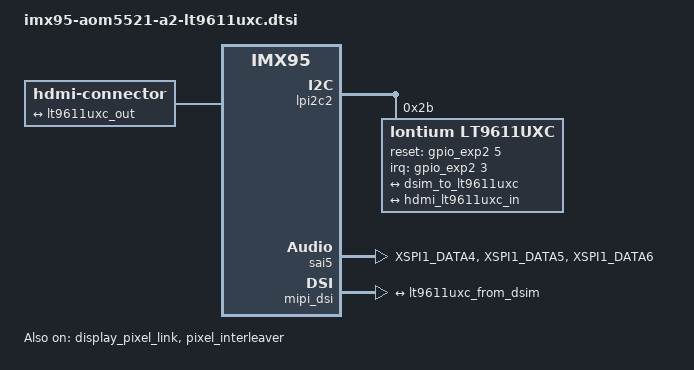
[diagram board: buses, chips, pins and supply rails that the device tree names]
/ {
	sound_hdmi: sound-hdmi {
		compatible = "simple-audio-card";
		simple-audio-card,name = "sound-hdmi";
		simple-audio-card,format = "i2s";

		simple-audio-card,cpu {
			sound-dai = <&sai5>;
		};

		simple-audio-card,codec {
			sound-dai = <&lt9611uxc>;
		};
	};

	hdmi-connector-dsi {
		compatible = "hdmi-connector";
		label = "hdmi";
		type = "a";

		port {
			hdmi_lt9611uxc_in: endpoint {
				remote-endpoint = <&lt9611uxc_out>;
			};
		};
	};
};

&lpi2c2 {
	lt9611uxc: lt9611uxc@2b {
		compatible = "lontium,lt9611uxc";
		reg = <0x2b>;
		#sound-dai-cells = <0>;
		reset-gpios = <&gpio_exp2 5 GPIO_ACTIVE_HIGH>; /* DSI_RST */
		interrupts-extended = <&gpio_exp2 3 IRQ_TYPE_EDGE_FALLING>; /* DSI_HDMI_INT */

		ports {
			#address-cells = <1>;
			#size-cells = <0>;

			port@0 {
				reg = <0>;
				lt9611uxc_from_dsim: endpoint {
					remote-endpoint = <&dsim_to_lt9611uxc>;
				};
			};

			port@2 {
				reg = <2>;
				lt9611uxc_out: endpoint {
					remote-endpoint = <&hdmi_lt9611uxc_in>;
				};
			};
		};
	};
};

&sai5 {
	#sound-dai-cells = <0>;
	pinctrl-names = "default";
	pinctrl-0 = <&pinctrl_sai5>;
	assigned-clocks = <&scmi_clk IMX95_CLK_AUDIOPLL1_VCO>,
			  <&scmi_clk IMX95_CLK_AUDIOPLL2_VCO>,
			  <&scmi_clk IMX95_CLK_AUDIOPLL1>,
			  <&scmi_clk IMX95_CLK_AUDIOPLL2>,
			  <&scmi_clk IMX95_CLK_SAI5>;
	assigned-clock-parents = <0>, <0>, <0>, <0>,
				 <&scmi_clk IMX95_CLK_AUDIOPLL1>;
	assigned-clock-rates = <3932160000>,
			       <3612672000>, <393216000>,
			       <361267200>, <12288000>;
	fsl,sai-mclk-direction-output;
	status = "okay";
};

&display_pixel_link {
	status = "okay";
};

&dpu {
	assigned-clocks = <&scmi_clk IMX95_CLK_DISP1PIX>,
			  <&scmi_clk IMX95_CLK_VIDEOPLL1_VCO>,
			  <&scmi_clk IMX95_CLK_VIDEOPLL1>;
	assigned-clock-parents = <&scmi_clk IMX95_CLK_VIDEOPLL1>;
	assigned-clock-rates = <0>, <2673000000>, <297000000>;
};

&mipi_dsi {
	status = "okay";

	ports {
		#address-cells = <1>;
		#size-cells = <0>;

		port@1 {
			reg = <1>;

			dsim_to_lt9611uxc: endpoint {
				remote-endpoint = <&lt9611uxc_from_dsim>;
			};
		};
	};
};

&pixel_interleaver {
	#address-cells = <1>;
	#size-cells = <0>;
	status = "okay";

	channel@0 {
		reg = <0>;
		status = "okay";
	};
};

&scmi_iomuxc {

	pinctrl_sai5: sai5grp {
		fsl,pins = <
			IMX95_PAD_XSPI1_DATA4__SAI5_TX_DATA_BIT0	0x31e
			IMX95_PAD_XSPI1_DATA5__SAI5_TX_SYNC		0x31e
			IMX95_PAD_XSPI1_DATA6__SAI5_TX_BCLK		0x31e
		>;
	};
};
